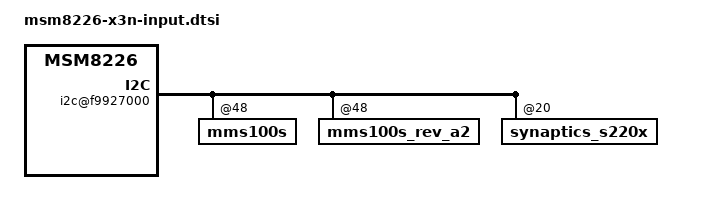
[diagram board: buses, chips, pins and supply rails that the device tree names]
/* Copyright (c) 2013, LGE Electronics. All rights reserved.
 *
 * This program is free software; you can redistribute it and/or modify
 * it under the terms of the GNU General Public License version 2 and
 * only version 2 as published by the Free Software Foundation.
 *
 * This program is distributed in the hope that it will be useful,
 * but WITHOUT ANY WARRANTY; without even the implied warranty of
 * MERCHANTABILITY or FITNESS FOR A PARTICULAR PURPOSE.  See the
 * GNU General Public License for more details.
 */

&soc {
	i2c@f9927000 { /* BLSP1 QUP5 */
		mms100s@48 {
			melfas,product = "I2S45A";
			melfas,auto_fw_update = <1>;
			melfas,use_vdd = <1>;
			melfas,use_vdd_i2c = <1>;
			melfas,fw-image-name = "melfas/x3n_global_com/x3n_global_com_rev_a_v06.mfsb";
			melfas,panel-spec-name = "melfas/x3n_global_com/x3n_global_com_limit.txt";
			revision = "rev_a";
			status = "ok";
		};

		mms100s_rev_a2@48 {
			melfas,product = "I2S45A";
			melfas,auto_fw_update = <1>;
			melfas,use_vdd = <0>;
			melfas,use_vdd_i2c = <0>;
			melfas,gpio-vdd-en = <60>;
			melfas,fw-image-name = "melfas/x3n_global_com/x3n_global_com_rev_a_v06.mfsb";
			melfas,panel-spec-name = "melfas/x3n_global_com/x3n_global_com_limit.txt";
			revision = "rev_a2";
			status = "ok";
		};
		lge_touch@48 {
			lge,product = "I2S45A";
			lge,fw-image-name = "melfas/x3n_global_com/x3n_global_com_rev_a_v06.mfsb";
			lge,panel_spec = "melfas/x3n_global_com/x3n_global_com_limit.txt";
			revision = "rev_a";
			status = "disable";
		};

		lge_ts_misc {
			revision = "rev_a2";
			vdd_on = <1>;
			vio_l19_on = <1>;
			vio_lvs1_on = <1>;
			irq_wake = <0>;
			status ="ok";
		};

		synaptics_red@20 {
			status = "disable";
			revision = "rev_b...";
		};

		synaptics_s220x@20 {
			status = "ok";
			revision = "rev_b...";
			synaptics,platform_data	{
				/* firmware image depends on this value, temporarily used */
				/* 0: No image(default), 1: W3DS(TIM BR)(PLG312_T001), 2: W3S(VDF)(PLG311_T001), 3: X3(GLOBAL_COM, TRF_ATT)... */
				panel_type = <3>;
				finger_reg_offset = <0>; /* s2202 : 0, s2200 : 1 */
			};
		};
	};
};
